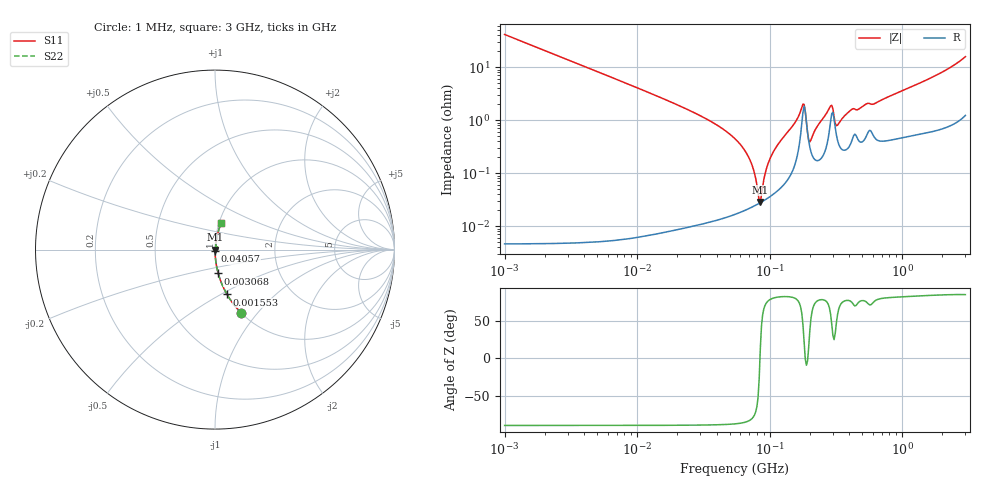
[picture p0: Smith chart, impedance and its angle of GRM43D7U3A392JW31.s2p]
!Murata Part Number: GRM43D7U3A392JW31
!These Parameters are Measured in Series Mode Connection
!Data Generated on Mar 30, 2021
!  o--ll--o
!Port1  Port2
!  o------o
!Operation Temp=25[degC], DC Bias Voltage=0[V]
!Freq. Start=1000[kHz] Stop=3[GHz] 401[Steps]
# Hz S RI R 50
!Freq.(Hz) S11(Real) S11(Imag) S21(Real) S21(Imag) S12(Real) S12(Imag) S22(Real) S22(Imag)
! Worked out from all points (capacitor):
!   401 points, 1 MHz to 3 GHz, reference 50 ohm
!   read as one part in series: C = 3.83 nF near 1.041 MHz
!   lowest |Z| = 28.6 mohm at 85.08 MHz (marker M1)
!   series resonance near 84.52 MHz, so ESL is about 930 pH
!   S11 on the Smith chart (normalised r, x): 1 MHz: 1.00, -0.83; 1.553 MHz: 1.00, -0.54; 3.068 MHz: 1.00, -0.27; 40.57 MHz: 1.00, -0.02; 3 GHz: 1.02, +0.32
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1000000  0.1474 -0.3545  0.8526 0.3545  0.8526 0.3545  0.1474 -0.3545
1553251  0.0669 -0.2497  0.9331 0.2497  0.9331 0.2497  0.0669 -0.2497
3067588  0.018 -0.1329  0.982 0.1329  0.982 0.1329  0.018 -0.1329
3823119  0.0117 -0.1073  0.9883 0.1073  0.9883 0.1073  0.0117 -0.1073
1.461624e7  0.000834 -0.0276  0.9992 0.0276  0.9992 0.0276  0.000834 -0.0276
4.05666e7  0.000194 -0.00794  0.9998 0.00794  0.9998 0.00794  0.000194 -0.00794
5.477226e7  0.000187 -0.00447  0.9998 0.00447  0.9998 0.00447  0.000187 -0.00447
7.105049e7  0.000223 -0.00176  0.9998 0.00176  0.9998 0.00176  0.000223 -0.00176
7.697298e7  0.000244 -0.000953  0.9998 0.000953  0.9998 0.000953  0.000244 -0.000953
8.173662e7  0.000263 -0.000342  0.9997 0.000342  0.9997 0.000342  0.000263 -0.000342
8.507507e7  0.000278 6.72e-05  0.9997 -6.72e-05  0.9997 -6.72e-05  0.000278 6.72e-05
9.402997e7  0.000324 0.00111  0.9997 -0.00111  0.9997 -0.00111  0.000324 0.00111
1.039275e8  0.000388 0.0022  0.9996 -0.0022  0.9996 -0.0022  0.000388 0.0022
1.748812e8  0.00882 0.0149  0.9912 -0.0149  0.9912 -0.0149  0.00882 0.0149
1.820241e8  0.0182 0.00698  0.9818 -0.00698  0.9818 -0.00698  0.0182 0.00698
1.971969e8  0.00402 0.00112  0.996 -0.00112  0.996 -0.00112  0.00402 0.00112
2.094008e8  0.00218 0.00438  0.9978 -0.00438  0.9978 -0.00438  0.00218 0.00438
2.884452e8  0.00974 0.0158  0.9903 -0.0158  0.9903 -0.0158  0.00974 0.0158
3.252521e8  0.00422 0.00684  0.9958 -0.00684  0.9958 -0.00684  0.00422 0.00684
4.135554e8  0.00409 0.0152  0.9959 -0.0152  0.9959 -0.0152  0.00409 0.0152
8.005644e8  0.00492 0.0277  0.9951 -0.0277  0.9951 -0.0277  0.00492 0.0277
3e9  0.0356 0.1504  0.9644 -0.1504  0.9644 -0.1504  0.0356 0.1504
